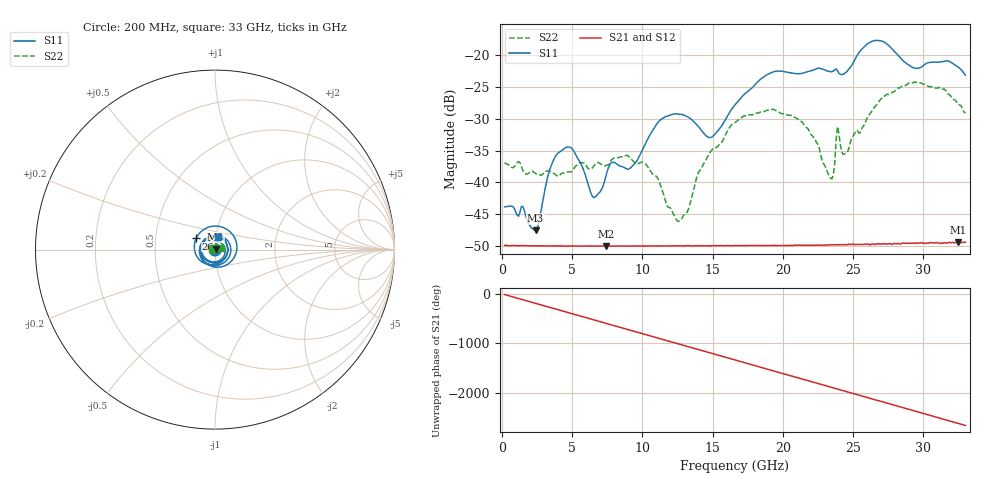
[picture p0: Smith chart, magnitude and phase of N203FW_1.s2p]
# GHZ S RI R 50
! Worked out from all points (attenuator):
!   329 points, 200 MHz to 33 GHz, reference 50 ohm
!   highest |S21| = -49.45 dB at 32.5 GHz (marker M1); lowest = -50.1 dB at 7.4 GHz (marker M2)
!   lowest |S11| = -47.5 dB at 2.4 GHz (marker M3), VSWR 1.01, Z = 50.3 + j0.301 ohm
!   |S11| at or under -10 dB: start of sweep to end of sweep
!   |S22| runs from -46.2 to -24.2 dB; largest |S21 - S12| = 8.8e-05
!   S11 on the Smith chart (normalised r, x): 200 MHz: 1.01, +0.00; 26 GHz: 0.80, +0.10; 33 GHz: 1.03, +0.14
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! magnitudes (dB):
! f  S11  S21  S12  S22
! 200 MHz  -43.9  -50.0  -49.9  -36.9
! 1.5 GHz  -43.8  -50.0  -50.0  -38.2
! 2.4 GHz  -47.5  -50.0  -50.0  -38.6
! 3.9 GHz  -35.6  -50.0  -50.0  -39.0
! 5.7 GHz  -37.4  -50.1  -50.0  -36.9
! 6.5 GHz  -42.4  -50.1  -50.0  -37.6
! 7.4 GHz  -39.1  -50.1  -50.0  -37.3
! 9.5 GHz  -37.0  -50.1  -50.0  -36.9
! 11.2 GHz  -30.3  -50.1  -50.0  -39.8
! 12.7 GHz  -29.3  -50.0  -50.0  -46.0
! 14.9 GHz  -32.9  -50.0  -50.0  -35.1
! 16.6 GHz  -27.8  -50.0  -50.0  -30.6
! 19.3 GHz  -22.6  -49.9  -50.0  -28.5
! 22.1 GHz  -22.4  -49.9  -49.9  -32.7
! 23.5 GHz  -22.5  -49.9  -49.8  -39.4
! 23.9 GHz  -22.4  -49.9  -49.9  -31.2
! 24.3 GHz  -23.0  -49.8  -49.8  -35.6
! 26 GHz  -18.2  -49.8  -49.7  -29.9
! 27.6 GHz  -18.5  -49.7  -49.7  -26.1
! 29.4 GHz  -22.0  -49.6  -49.6  -24.2
! 32.5 GHz  -21.8  -49.4  -49.4  -27.7
! 33 GHz  -23.1  -49.5  -49.5  -29.1
